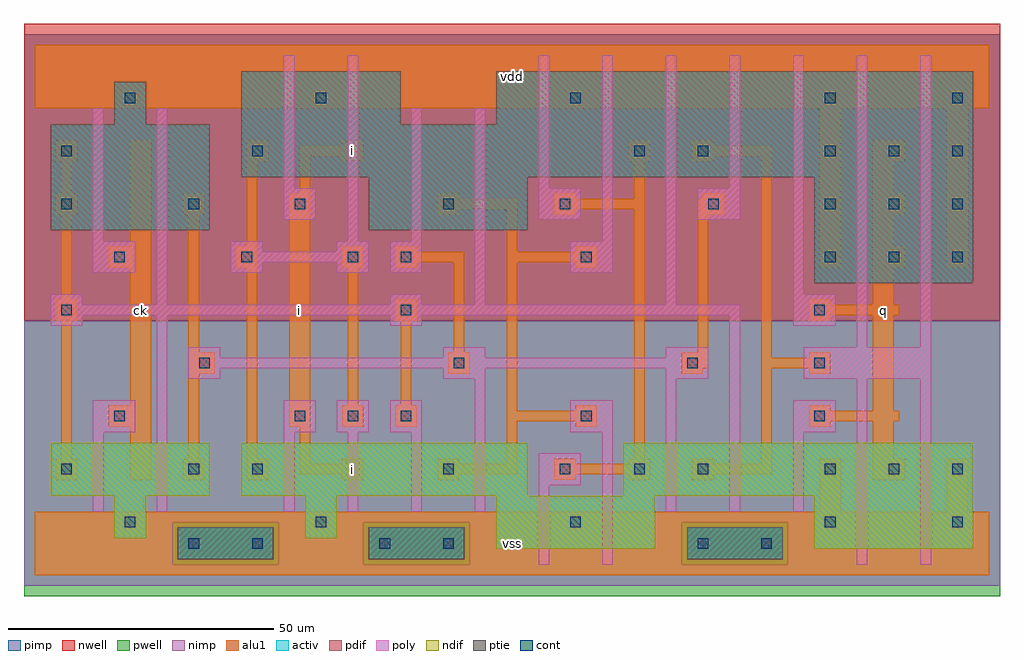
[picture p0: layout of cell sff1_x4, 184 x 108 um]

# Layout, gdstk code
import gdstk
lib = gdstk.Library(unit=1e-6, precision=1e-09)
def R(c, l, rs):  # rectangles x0, y0, x1, y1
    for r in rs: c.add(gdstk.rectangle(r[:2], r[2:], *l))
def A(c, l, x, y, w, h, nx, ny, dx, dy):  # array of equal rectangles
    R(c, l, [(x+i*dx, y+j*dy, x+i*dx+w, y+j*dy+h) for i in range(nx) for j in range(ny)])
ndif = (3, 0)
pdif = (4, 0)
ptie = (6, 0)
cont = (25, 0)
pwell = (41, 0)
nwell = (42, 0)
activ = (43, 0)
pimp = (44, 0)
nimp = (45, 0)
poly = (46, 0)
alu1 = (49, 0)

sff1_x4 = lib.new_cell('sff1_x4')
R(sff1_x4, ndif, [(87,5,117,15), (147,5,177,15), (15,7,21,15), (51,7,57,15), (3,15,33,25), (39,15,93,25), (111,15,177,25)])
R(sff1_x4, pdif, [(147,55,177,75), (3,65,33,85), (63,65,93,75), (39,75,177,85), (15,85,21,93), (39,85,69,95), (87,85,177,95)])
R(sff1_x4, ptie, [(27,3,45,9), (63,3,81,9), (123,3,141,9)])
A(sff1_x4, cont, 53, 9, 2, 2, 3, 2, 48, 80)
A(sff1_x4, cont, 149, 19, 2, 2, 3, 2, 12, 40)
A(sff1_x4, cont, 49, 29, 2, 2, 3, 1, 10, 0)
A(sff1_x4, cont, 147, 29, 2, 2, 1, 3, 0, 10)
A(sff1_x4, cont, 149, 69, 2, 2, 3, 2, 12, 10)
R(sff1_x4, cont, [(29,5,31,7), (41,5,43,7), (65,5,67,7), (77,5,79,7), (125,5,127,7), (137,5,139,7), (17,9,19,11), (173,9,175,11), (5,19,7,21), (29,19,31,21), (41,19,43,21), (77,19,79,21), (99,19,101,21), (113,19,115,21), (125,19,127,21), (15,29,17,31), (103,29,105,31), (31,39,33,41), (79,39,81,41), (123,39,125,41), (5,49,7,51), (69,49,71,51), (15,59,17,61), (39,59,41,61), (59,59,61,61), (69,59,71,61), (103,59,105,61), (5,69,7,71), (29,69,31,71), (49,69,51,71), (77,69,79,71), (99,69,101,71), (127,69,129,71), (5,79,7,81), (41,79,43,81), (113,79,115,81), (125,79,127,81), (17,89,19,91), (173,89,175,91)])
R(sff1_x4, pwell, [(-2,-4,182,48)])
R(sff1_x4, nwell, [(-2,48,182,104)])
R(sff1_x4, activ, [(27,3,45,9), (63,3,81,9), (123,3,141,9), (87,5,117,15), (147,5,177,15), (15,7,21,15), (51,7,57,15), (3,15,33,25), (39,15,93,25), (111,15,177,25), (147,55,177,75), (3,65,33,85), (63,65,93,75), (39,75,177,85), (15,85,21,93), (39,85,69,95), (87,85,177,95)])
R(sff1_x4, pimp, [(26,2,46,10), (62,2,82,10), (122,2,142,10), (-2,48,182,102)])
R(sff1_x4, nimp, [(-2,-2,182,2), (-2,2,26,10), (46,2,62,10), (82,2,122,10), (142,2,182,10), (-2,10,182,48)])
A(sff1_x4, poly, 47, 12, 2, 15, 3, 1, 12, 0)
A(sff1_x4, poly, 47, 27, 6, 6, 3, 1, 10, 0)
R(sff1_x4, poly, [(95,2,97,17), (107,2,109,27), (155,2,157,37), (167,2,169,37), (11,12,13,27), (23,12,25,49), (83,12,85,37), (119,12,121,37), (131,12,133,49), (143,12,145,27), (95,17,103,23), (11,27,19,33), (101,27,109,33), (143,27,151,33), (29,37,35,39), (77,37,85,39), (119,37,127,39), (145,37,169,43), (29,39,127,41), (29,41,35,43), (77,41,85,43), (119,41,127,43), (155,43,157,98), (167,43,169,98), (3,47,9,49), (67,47,73,49), (143,47,151,53), (3,49,133,51), (3,51,9,53), (23,51,25,88), (67,51,73,53), (83,51,85,88), (119,51,121,98), (143,53,145,98), (11,57,19,63), (37,57,43,59), (57,57,63,59), (67,57,73,63), (101,57,109,63), (37,59,63,61), (37,61,43,63), (57,61,63,63), (11,63,13,88), (59,63,61,98), (71,63,73,88), (107,63,109,98), (47,67,53,73), (95,67,103,73), (125,67,133,73), (47,73,49,98), (95,73,97,98), (131,73,133,98)])
A(sff1_x4, alu1, 158, 58, 6, 4, 1, 3, 0, 10)
R(sff1_x4, alu1, [(0,0,180,12), (148,12,152,22), (172,12,176,22), (4,18,8,22), (18,18,22,28), (28,18,32,22), (40,18,44,22), (58,18,62,19), (76,18,80,19), (98,18,102,19), (112,18,116,19), (124,18,128,19), (158,18,164,22), (50,19,62,21), (76,19,91,21), (98,19,116,21), (124,19,139,21), (50,21,52,28), (58,21,62,22), (76,21,80,22), (89,21,91,29), (98,21,102,22), (112,21,116,22), (124,21,128,22), (137,21,139,39), (5,22,7,48), (29,22,31,38), (40,22,42,58), (113,22,115,69), (158,22,162,29), (14,28,22,32), (48,28,52,72), (58,28,62,32), (68,28,72,32), (102,28,106,29), (146,28,150,29), (89,29,106,31), (146,29,163,31), (89,31,91,59), (102,31,106,32), (146,31,150,32), (158,31,162,49), (18,32,22,58), (59,32,61,58), (69,32,71,48), (29,38,34,42), (78,38,82,42), (122,38,126,39), (146,38,150,39), (122,39,127,42), (137,39,150,41), (137,41,139,79), (146,41,150,42), (29,42,31,68), (79,42,81,59), (125,42,127,68), (4,48,8,52), (68,48,72,52), (146,48,150,49), (146,49,163,51), (146,51,150,52), (158,51,162,58), (5,52,7,68), (14,58,22,62), (38,58,42,62), (58,58,62,62), (68,58,72,59), (102,58,106,59), (148,58,152,88), (172,58,176,88), (68,59,81,61), (89,59,106,61), (68,61,72,62), (89,61,91,69), (102,61,106,62), (18,62,22,82), (40,62,42,78), (158,62,162,68), (4,68,8,72), (28,68,32,72), (76,68,80,69), (98,68,102,69), (125,68,130,71), (76,69,91,71), (98,69,115,71), (76,71,80,72), (98,71,102,72), (113,71,115,78), (126,71,130,72), (5,72,7,78), (50,72,52,79), (158,72,162,78), (4,78,8,82), (40,78,44,82), (58,78,62,79), (112,78,116,82), (124,78,128,79), (50,79,62,81), (124,79,139,81), (58,81,62,82), (124,81,128,82), (0,88,180,100)])
sff1_x4.add(gdstk.Label('ck', (20,50), layer=49, texttype=0))
sff1_x4.add(gdstk.Label('i', (60,20), layer=49, texttype=0))
sff1_x4.add(gdstk.Label('i', (50,50), layer=49, texttype=0))
sff1_x4.add(gdstk.Label('i', (60,80), layer=49, texttype=0))
sff1_x4.add(gdstk.Label('vss', (90,6), layer=49, texttype=0))
sff1_x4.add(gdstk.Label('vdd', (90,94), layer=49, texttype=0))
sff1_x4.add(gdstk.Label('q', (160,50), layer=49, texttype=0))

lib.write_gds('sff1_x4.gds')
